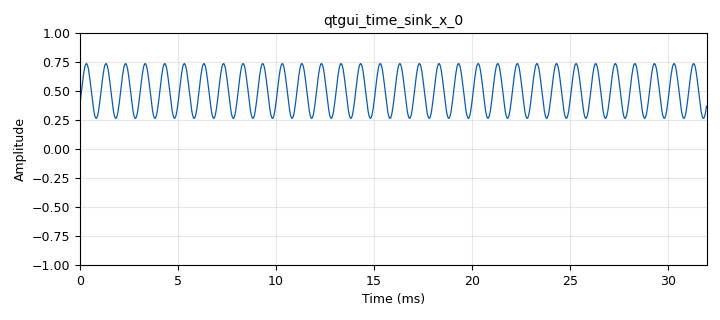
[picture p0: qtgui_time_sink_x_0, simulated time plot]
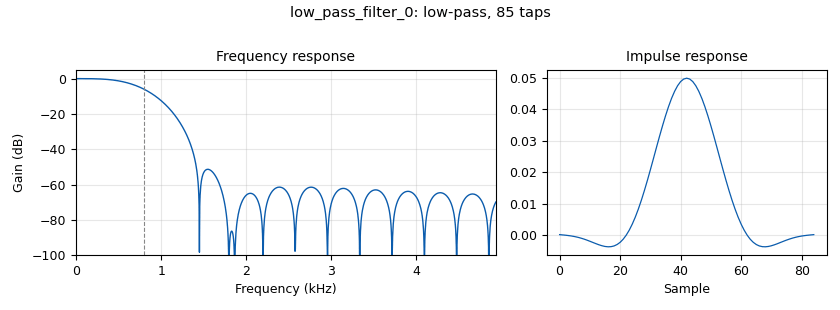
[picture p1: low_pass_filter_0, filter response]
options:
  parameters:
    generate_options: qt_gui
    id: dsbsc_demodulation
    output_language: python
    title: Not titled yet
  states: {}

blocks:
- name: samp_rate
  id: variable
  parameters:
    value: '32000'
  states: {}
- name: analog_sig_source_x_0
  id: analog_sig_source_x
  parameters:
    amp: '1'
    freq: '1000'
    offset: '0'
    phase: '0'
    samp_rate: samp_rate
    type: float
    waveform: analog.GR_COS_WAVE
  states: {}
- name: analog_sig_source_x_1
  id: analog_sig_source_x
  parameters:
    amp: '1'
    freq: '1000'
    offset: '0'
    phase: '0'
    samp_rate: samp_rate
    type: float
    waveform: analog.GR_COS_WAVE
  states: {}
- name: audio_sink_0
  id: audio_sink
  parameters:
    samp_rate: samp_rate
  states: {}
- name: blocks_add_const_vxx_0
  id: blocks_add_const_vxx
  parameters:
    const: '1'
    type: float
  states: {}
- name: blocks_multiply_const_vxx_0
  id: blocks_multiply_const_vxx
  parameters:
    const: '1'
    type: float
  states: {}
- name: blocks_multiply_xx_0
  id: blocks_multiply_xx
  parameters:
    type: float
  states: {}
- name: blocks_throttle2_0
  id: blocks_throttle2
  parameters:
    samples_per_second: samp_rate
    type: float
  states: {}
- name: low_pass_filter_0
  id: low_pass_filter
  parameters:
    cutoff_freq: '800'
    decim: '1'
    gain: '1'
    samp_rate: samp_rate
    type: fir_filter_fff
    width: '900'
    win: window.WIN_HAMMING
  states: {}
- name: qtgui_time_sink_x_0
  id: qtgui_time_sink_x
  parameters:
    size: '1024'
    srate: samp_rate
    type: float
  states: {}

connections:
- [analog_sig_source_x_0, '0', blocks_add_const_vxx_0, '0']
- [analog_sig_source_x_1, '0', blocks_multiply_xx_0, '1']
- [blocks_add_const_vxx_0, '0', blocks_multiply_const_vxx_0, '0']
- [blocks_multiply_const_vxx_0, '0', blocks_multiply_xx_0, '0']
- [blocks_multiply_xx_0, '0', blocks_throttle2_0, '0']
- [blocks_throttle2_0, '0', low_pass_filter_0, '0']
- [low_pass_filter_0, '0', audio_sink_0, '0']
- [low_pass_filter_0, '0', qtgui_time_sink_x_0, '0']

metadata:
  file_format: 1
  grc_version: 3.10.9.2
